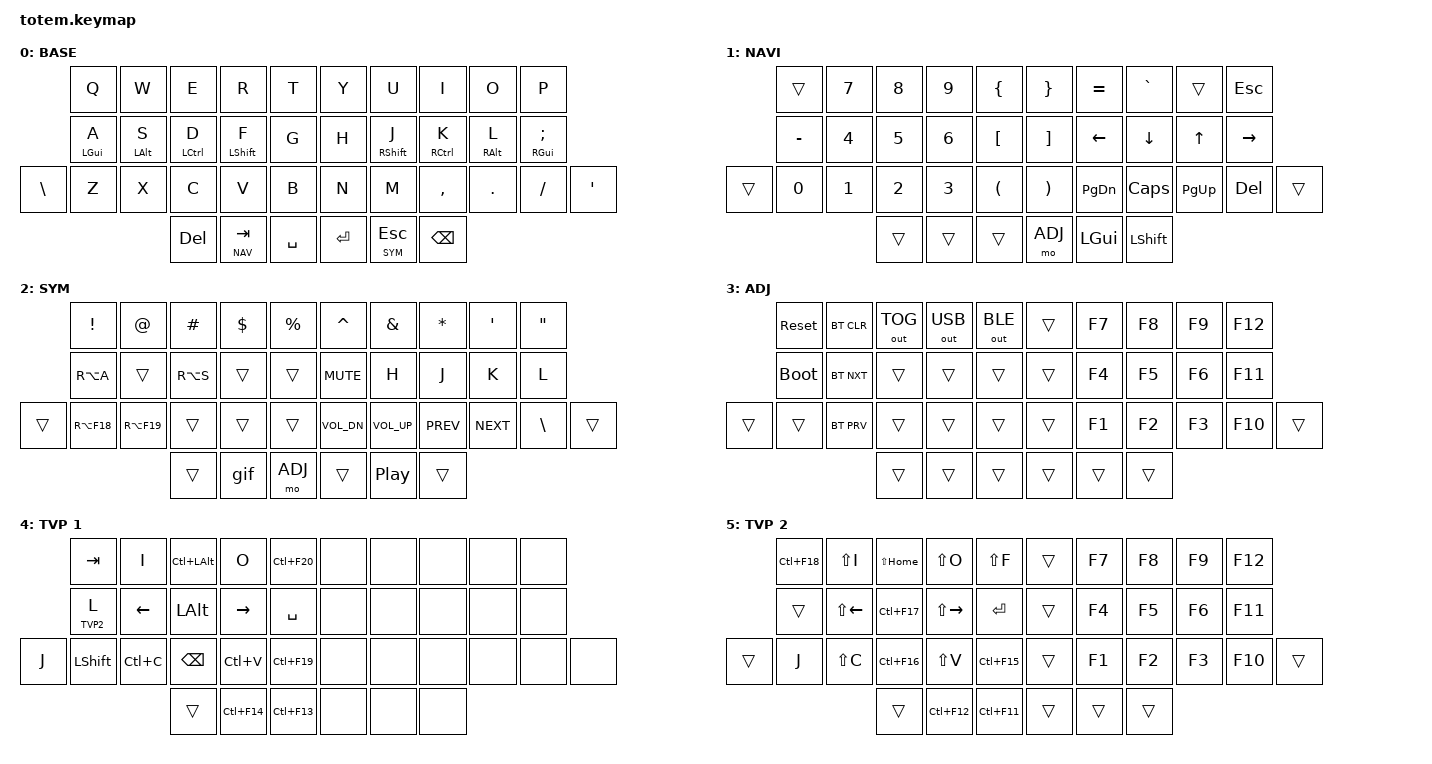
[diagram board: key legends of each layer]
//
//                                                        ▀▀▀▀▀     ▀▀▀▀▀          ▀▀█▀▀
//                                                        ▄▀▀▀▄  ▄  ▄▀▀▀▄  ▄  ▄▀▀▀▄  █  ▄▀▀▀▄
//                                                        █   █  █  █   █  █  █   █  █  █   █
//                                                         ▀▀▀   █   ▀▀▀   █   ▀▀▀   ▀   ▀▀▀
//                                                               █      ▄▄▄█▄▄▄    █   █  
//                                                               ▀      █  █  █     █▄█
//                                                             ▀▀▀▀▀    █  █  █      ▀
//                                                                      ▀  ▀  ▀
///
// ▄▄▄▄▄▄▄▄▄▄▄▄▄▄▄▄▄▄▄▄▄▄▄▄▄▄▄▄▄▄▄▄▄▄▄▄▄▄▄▄▄▄▄▄▄▄▄▄▄▄▄▄▄▄▄▄▄▄▄▄▄▄▄▄▄▄▄▄▄▄▄▄▄▄▄▄▄▄▄▄▄▄▄▄▄▄▄▄▄▄▄▄▄▄▄▄▄▄▄▄▄▄▄▄▄▄▄▄▄▄▄▄▄▄▄▄▄▄▄▄▄▄▄▄▄▄▄▄▄▄▄▄▄▄▄▄▄▄▄▄▄▄▄▄▄▄▄▄▄
       

#include <behaviors.dtsi>
#include <dt-bindings/zmk/keys.h>
#include <dt-bindings/zmk/bt.h>
#include <dt-bindings/zmk/outputs.h>

#define BASE 0
#define NAV  1
#define SYM  2
#define ADJ  3
#define TVP1 4
#define TVP2 5

&mt {
  quick-tap-ms = <100>;
  global-quick-tap;
  flavor = "tap-preferred";
  tapping-term-ms = <170>;
};

/ {
     combos {
            compatible = "zmk,combos";
            combo_esc {
                timeout-ms = <50>;
                key-positions = <0 1>;
                bindings = <&kp ESC>;
            };
            combo_tvp {
                timeout-ms = <100>;
                key-positions = <11 12 13>;
                bindings = <&tog TVP1>;
            };
    };

    macros {
        gif: gif {
            label = "giphy";
            compatible = "zmk,behavior-macro";
            #binding-cells = <0>;
            bindings
                = <&macro_press &kp LSHFT>
                , <&macro_tap &kp N2>
                , <&macro_release &kp LSHFT>
                , <&macro_tap &kp G &kp I &kp F>
                ;
        };
    };

        keymap {
                compatible = "zmk,keymap";
// ▄▄▄▄▄▄▄▄▄▄▄▄▄▄▄▄▄▄▄▄▄▄▄▄▄▄▄▄▄▄▄▄▄▄▄▄▄▄▄▄▄▄▄▄▄▄▄▄▄▄▄▄▄▄▄▄▄▄▄▄▄▄▄▄▄▄▄▄▄▄▄▄▄▄▄▄▄▄▄▄▄▄▄▄▄▄▄▄▄▄▄▄▄▄▄▄▄▄▄▄▄▄▄▄▄▄▄▄▄▄▄▄▄▄▄▄▄▄▄▄▄▄▄▄▄▄▄▄▄▄▄▄▄▄▄▄▄▄▄▄▄▄▄▄▄▄▄▄▄

                base_layer {
// ┏━━━━━━━━━━━━━━━━━━━━━━━━━━━━━━━━━━━━━━━┓
label= "BASE"                              ;
// ┗━━━━━━━━━━━━━━━━━━━━━━━━━━━━━━━━━━━━━━━┛
//             ┏━━━━━━━━━━━┳━━━━━━━━━━━┳━━━━━━━━━━━┳━━━━━━━━━━━┳━━━━━━━━━━━┓   ┏━━━━━━━━━━━┳━━━━━━━━━━━┳━━━━━━━━━━━┳━━━━━━━━━━━┳━━━━━━━━━━━┓
//             ┃     Q     ┃     W     ┃     E     ┃     R     ┃     T     ┃   ┃     Y     ┃     U     ┃     I     ┃     O     ┃     P     ┃
//             ┣━━━━━━━━━━━╋━━━━━━━━━━━╋━━━━━━━━━━━╋━━━━━━━━━━━╋━━━━━━━━━━━┫   ┣━━━━━━━━━━━╋━━━━━━━━━━━╋━━━━━━━━━━━╋━━━━━━━━━━━╋━━━━━━━━━━━┫
//             ┃     A     ┃     S     ┃     D     ┃     F     ┃     G     ┃   ┃     H     ┃     J     ┃     K     ┃     L     ┃     ;     ┃
// ┏━━━━━━━━━━━╋━━━━━━━━━━━╋━━━━━━━━━━━╋━━━━━━━━━━━╋━━━━━━━━━━━╋━━━━━━━━━━━┫   ┣━━━━━━━━━━━╋━━━━━━━━━━━╋━━━━━━━━━━━╋━━━━━━━━━━━╋━━━━━━━━━━━╋━━━━━━━━━━━┓
// ┃     \     ┃     Z     ┃     X     ┃     C     ┃     V     ┃     B     ┃   ┃     N     ┃     M     ┃     ,     ┃     .     ┃     /     ┃     '     ┃
// ┗━━━━━━━━━━━┻━━━━━━━━━━━┻━━━━━━━━━━━╋━━━━━━━━━━━╋━━━━━━━━━━━╋━━━━━━━━━━━┫   ┣━━━━━━━━━━━╋━━━━━━━━━━━╋━━━━━━━━━━━╋━━━━━━━━━━━┻━━━━━━━━━━━┻━━━━━━━━━━━┛
//                                     ┃    DEL    ┃    TAB    ┃    SPC    ┃   ┃   ENTER   ┃    ESC    ┃    BSPC    ┃
//                                     ┗━━━━━━━━━━━┻━━━━━━━━━━━┻━━━━━━━━━━━┛   ┗━━━━━━━━━━━┻━━━━━━━━━━━┻━━━━━━━━━━━┛
 bindings = <
// ╷           ╷           ╷           ╷           ╷           ╷           ╷   ╷           ╷           ╷           ╷           ╷           ╷           ╷

                &kp Q       &kp W       &kp E       &kp R       &kp T           &kp Y       &kp U       &kp I       &kp O       &kp P
                &mt LGUI A  &mt LALT S  &mt LCTRL D &mt LSHFT F &kp G           &kp H       &mt RSHFT J &mt RCTRL K &mt RALT L  &mt RGUI SEMI
    &kp BSLH     &kp Z       &kp X       &kp C       &kp V       &kp B           &kp N       &kp M       &kp COMMA   &kp DOT     &kp FSLH    &kp SQT
                                        &kp DEL   &lt NAV TAB   &kp SPACE       &kp RET   &lt SYM ESC   &kp BSPC
                        >;
                };

// ▄▄▄▄▄▄▄▄▄▄▄▄▄▄▄▄▄▄▄▄▄▄▄▄▄▄▄▄▄▄▄▄▄▄▄▄▄▄▄▄▄▄▄▄▄▄▄▄▄▄▄▄▄▄▄▄▄▄▄▄▄▄▄▄▄▄▄▄▄▄▄▄▄▄▄▄▄▄▄▄▄▄▄▄▄▄▄▄▄▄▄▄▄▄▄▄▄▄▄▄▄▄▄▄▄▄▄▄▄▄▄▄▄▄▄▄▄▄▄▄▄▄▄▄▄▄▄▄▄▄▄▄▄▄▄▄▄▄▄▄▄▄▄▄▄▄▄▄▄


                nav_layer {
// ┏━━━━━━━━━━━━━━━━━━━━━━━━━━━━━━━━━━━━━━━┓
label= "NAVI"                              ;
// ┗━━━━━━━━━━━━━━━━━━━━━━━━━━━━━━━━━━━━━━━┛
//             ┏━━━━━━━━━━━┳━━━━━━━━━━━┳━━━━━━━━━━━┳━━━━━━━━━━━┳━━━━━━━━━━━┓   ┏━━━━━━━━━━━┳━━━━━━━━━━━┳━━━━━━━━━━━┳━━━━━━━━━━━┳━━━━━━━━━━━┓
//             ┃           ┃     7     ┃     8     ┃     9     ┃     {     ┃   ┃     }     ┃     =     ┃     `     ┃           ┃    ESC    ┃
//             ┣━━━━━━━━━━━╋━━━━━━━━━━━╋━━━━━━━━━━━╋━━━━━━━━━━━╋━━━━━━━━━━━┫   ┣━━━━━━━━━━━╋━━━━━━━━━━━╋━━━━━━━━━━━╋━━━━━━━━━━━╋━━━━━━━━━━━┫
//             ┃     -     ┃     4     ┃     5     ┃     6     ┃     [     ┃   ┃     ]     ┃    LEFT   ┃    DOWN   ┃     UP    ┃   RIGHT   ┃
// ┏━━━━━━━━━━━╋━━━━━━━━━━━╋━━━━━━━━━━━╋━━━━━━━━━━━╋━━━━━━━━━━━╋━━━━━━━━━━━┫   ┣━━━━━━━━━━━╋━━━━━━━━━━━╋━━━━━━━━━━━╋━━━━━━━━━━━╋━━━━━━━━━━━╋━━━━━━━━━━━┓
// ┃           ┃     0     ┃     1     ┃     2     ┃     3     ┃     (     ┃   ┃     )     ┃   PG_DN   ┃    CAPS   ┃   PG_UP   ┃    DEL    ┃           ┃
// ┗━━━━━━━━━━━┻━━━━━━━━━━━┻━━━━━━━━━━━╋━━━━━━━━━━━╋━━━━━━━━━━━╋━━━━━━━━━━━┫   ┣━━━━━━━━━━━╋━━━━━━━━━━━╋━━━━━━━━━━━╋━━━━━━━━━━━┻━━━━━━━━━━━┻━━━━━━━━━━━┛
//                                     ┃           ┃           ┃           ┃   ┃    ADJ    ┃    LGUI   ┃   LSHIFT  ┃
//                                     ┗━━━━━━━━━━━┻━━━━━━━━━━━┻━━━━━━━━━━━┛   ┗━━━━━━━━━━━┻━━━━━━━━━━━┻━━━━━━━━━━━┛
 bindings = <
// ╷           ╷           ╷           ╷           ╷           ╷           ╷   ╷           ╷           ╷           ╷           ╷           ╷           ╷


                &trans      &kp N7      &kp N8      &kp N9      &kp LBRC        &kp RBRC    &kp EQUAL   &kp GRAVE   &trans      &kp ESC
                &kp MINUS   &kp N4      &kp N5      &kp N6      &kp LBKT        &kp RBKT    &kp LEFT    &kp DOWN    &kp UP      &kp RIGHT
    &trans      &kp N0      &kp N1      &kp N2      &kp N3      &kp LPAR        &kp RPAR    &kp PG_DN   &kp CAPS    &kp PG_UP   &kp DEL      &trans      
                                        &trans      &trans      &trans          &mo ADJ     &kp LGUI    &kp LSHFT    
                        >;
                };

// ▄▄▄▄▄▄▄▄▄▄▄▄▄▄▄▄▄▄▄▄▄▄▄▄▄▄▄▄▄▄▄▄▄▄▄▄▄▄▄▄▄▄▄▄▄▄▄▄▄▄▄▄▄▄▄▄▄▄▄▄▄▄▄▄▄▄▄▄▄▄▄▄▄▄▄▄▄▄▄▄▄▄▄▄▄▄▄▄▄▄▄▄▄▄▄▄▄▄▄▄▄▄▄▄▄▄▄▄▄▄▄▄▄▄▄▄▄▄▄▄▄▄▄▄▄▄▄▄▄▄▄▄▄▄▄▄▄▄▄▄▄▄▄▄▄▄▄▄▄


                sim_layer {
// ┏━━━━━━━━━━━━━━━━━━━━━━━━━━━━━━━━━━━━━━━┓
label= "SYM"                               ;
// ┗━━━━━━━━━━━━━━━━━━━━━━━━━━━━━━━━━━━━━━━┛
//             ┏━━━━━━━━━━━┳━━━━━━━━━━━┳━━━━━━━━━━━┳━━━━━━━━━━━┳━━━━━━━━━━━┓   ┏━━━━━━━━━━━┳━━━━━━━━━━━┳━━━━━━━━━━━┳━━━━━━━━━━━┳━━━━━━━━━━━┓
//             ┃     !     ┃     @     ┃     #     ┃     $     ┃     %     ┃   ┃     ˆ     ┃     &     ┃     *     ┃     '     ┃     "     ┃
//             ┣━━━━━━━━━━━╋━━━━━━━━━━━╋━━━━━━━━━━━╋━━━━━━━━━━━╋━━━━━━━━━━━┫   ┣━━━━━━━━━━━╋━━━━━━━━━━━╋━━━━━━━━━━━╋━━━━━━━━━━━╋━━━━━━━━━━━┫
//             ┃     Ä     ┃           ┃    SZ     ┃           ┃           ┃   ┃   MUTE    ┃     H     ┃     J     ┃     K     ┃     L     ┃
// ┏━━━━━━━━━━━╋━━━━━━━━━━━╋━━━━━━━━━━━╋━━━━━━━━━━━╋━━━━━━━━━━━╋━━━━━━━━━━━┫   ┣━━━━━━━━━━━╋━━━━━━━━━━━╋━━━━━━━━━━━╋━━━━━━━━━━━╋━━━━━━━━━━━╋━━━━━━━━━━━┓
// ┃           ┃  EMAIL1   ┃  EMAIL2   ┃           ┃           ┃           ┃   ┃   VOL-    ┃   VOL+    ┃   LAST    ┃   NEXT    ┃     \     ┃           ┃
// ┗━━━━━━━━━━━┻━━━━━━━━━━━┻━━━━━━━━━━━╋━━━━━━━━━━━╋━━━━━━━━━━━╋━━━━━━━━━━━┫   ┣━━━━━━━━━━━╋━━━━━━━━━━━╋━━━━━━━━━━━╋━━━━━━━━━━━┻━━━━━━━━━━━┻━━━━━━━━━━━┛
//                                     ┃           ┃    GIF    ┃    ADJ    ┃   ┃           ┃           ┃           ┃
//                                     ┗━━━━━━━━━━━┻━━━━━━━━━━━┻━━━━━━━━━━━┛   ┗━━━━━━━━━━━┻━━━━━━━━━━━┻━━━━━━━━━━━┛
 bindings = <
// ╷           ╷           ╷           ╷           ╷           ╷           ╷   ╷           ╷           ╷           ╷           ╷           ╷           ╷

                &kp EXCL    &kp AT      &kp HASH    &kp DLLR    &kp PRCNT       &kp CARET   &kp AMPS    &kp STAR    &kp SQT     &kp DQT       
                &kp RA(A)   &trans      &kp RA(S)   &trans      &trans          &kp C_MUTE  &kp H       &kp J       &kp K       &kp L 
    &trans      &kp RA(F18) &kp RA(F19) &trans      &trans      &trans          &kp C_VOL_DN &kp C_VOL_UP &kp C_PREV &kp C_NEXT  &kp BSLH   &trans         
                                        &trans      &gif        &mo ADJ         &trans      &kp C_PP    &trans      
                        >;
                };

// ▄▄▄▄▄▄▄▄▄▄▄▄▄▄▄▄▄▄▄▄▄▄▄▄▄▄▄▄▄▄▄▄▄▄▄▄▄▄▄▄▄▄▄▄▄▄▄▄▄▄▄▄▄▄▄▄▄▄▄▄▄▄▄▄▄▄▄▄▄▄▄▄▄▄▄▄▄▄▄▄▄▄▄▄▄▄▄▄▄▄▄▄▄▄▄▄▄▄▄▄▄▄▄▄▄▄▄▄▄▄▄▄▄▄▄▄▄▄▄▄▄▄▄▄▄▄▄▄▄▄▄▄▄▄▄▄▄▄▄▄▄▄▄▄▄▄▄▄▄


                adjust_layer {
// ┏━━━━━━━━━━━━━━━━━━━━━━━━━━━━━━━━━━━━━━━┓
label= "ADJ"                               ;
// ┗━━━━━━━━━━━━━━━━━━━━━━━━━━━━━━━━━━━━━━━┛
//             ┏━━━━━━━━━━━┳━━━━━━━━━━━┳━━━━━━━━━━━┳━━━━━━━━━━━┳━━━━━━━━━━━┓   ┏━━━━━━━━━━━┳━━━━━━━━━━━┳━━━━━━━━━━━┳━━━━━━━━━━━┳━━━━━━━━━━━┓
//             ┃   RESET   ┃ BT CLEAR  ┃  OUT TOG  ┃  OUT USB  ┃  OUT BLE  ┃   ┃           ┃    F7     ┃    F8     ┃    F9     ┃    F12    ┃
//             ┣━━━━━━━━━━━╋━━━━━━━━━━━╋━━━━━━━━━━━╋━━━━━━━━━━━╋━━━━━━━━━━━┫   ┣━━━━━━━━━━━╋━━━━━━━━━━━╋━━━━━━━━━━━╋━━━━━━━━━━━╋━━━━━━━━━━━┫
//             ┃ BOOTLOAD  ┃ BT NEXT   ┃           ┃           ┃           ┃   ┃           ┃    F4     ┃    F5     ┃    F6     ┃    F11    ┃
// ┏━━━━━━━━━━━╋━━━━━━━━━━━╋━━━━━━━━━━━╋━━━━━━━━━━━╋━━━━━━━━━━━╋━━━━━━━━━━━┫   ┣━━━━━━━━━━━╋━━━━━━━━━━━╋━━━━━━━━━━━╋━━━━━━━━━━━╋━━━━━━━━━━━╋━━━━━━━━━━━┓
// ┃           ┃           ┃ BT PREV   ┃           ┃           ┃           ┃   ┃           ┃    F1     ┃    F2     ┃    F3     ┃    F10    ┃           ┃
// ┗━━━━━━━━━━━┻━━━━━━━━━━━┻━━━━━━━━━━━╋━━━━━━━━━━━╋━━━━━━━━━━━╋━━━━━━━━━━━┫   ┣━━━━━━━━━━━╋━━━━━━━━━━━╋━━━━━━━━━━━╋━━━━━━━━━━━┻━━━━━━━━━━━┻━━━━━━━━━━━┛
//                                     ┃           ┃           ┃           ┃   ┃           ┃           ┃           ┃
//                                     ┗━━━━━━━━━━━┻━━━━━━━━━━━┻━━━━━━━━━━━┛   ┗━━━━━━━━━━━┻━━━━━━━━━━━┻━━━━━━━━━━━┛
 bindings = <
// ╷           ╷           ╷           ╷           ╷           ╷           ╷   ╷           ╷           ╷           ╷           ╷           ╷           ╷

                &sys_reset &bt BT_CLR &out OUT_TOG &out OUT_USB &out OUT_BLE    &trans      &kp F7      &kp F8      &kp F9      &kp F12
                &bootloader &bt BT_NXT  &trans      &trans      &trans          &trans      &kp F4      &kp F5      &kp F6      &kp F11  
    &trans      &trans      &bt BT_PRV  &trans      &trans      &trans          &trans      &kp F1      &kp F2      &kp F3      &kp F10     &trans         
                                        &trans      &trans      &trans          &trans      &trans      &trans      
                        >;
                };

// ▄▄▄▄▄▄▄▄▄▄▄▄▄▄▄▄▄▄▄▄▄▄▄▄▄▄▄▄▄▄▄▄▄▄▄▄▄▄▄▄▄▄▄▄▄▄▄▄▄▄▄▄▄▄▄▄▄▄▄▄▄▄▄▄▄▄▄▄▄▄▄▄▄▄▄▄▄▄▄▄▄▄▄▄▄▄▄▄▄▄▄▄▄▄▄▄▄▄▄▄▄▄▄▄▄▄▄▄▄▄▄▄▄▄▄▄▄▄▄▄▄▄▄▄▄▄▄▄▄▄▄▄▄▄▄▄▄▄▄▄▄▄▄▄▄▄▄▄▄


                tvp1_layer {
// ┏━━━━━━━━━━━━━━━━━━━━━━━━━━━━━━━━━━━━━━━┓
label= "TVP 1"                             ;
// ┗━━━━━━━━━━━━━━━━━━━━━━━━━━━━━━━━━━━━━━━┛
//             ┏━━━━━━━━━━━┳━━━━━━━━━━━┳━━━━━━━━━━━┳━━━━━━━━━━━┳━━━━━━━━━━━┓   ┏━━━━━━━━━━━┳━━━━━━━━━━━┳━━━━━━━━━━━┳━━━━━━━━━━━┳━━━━━━━━━━━┓
//             ┃ NEXT FILE ┃ MARK IN   ┃ ROTATE    ┃ MARK OUT  ┃ SHOW SNAP ┃   ┃           ┃           ┃           ┃           ┃           ┃
//             ┣━━━━━━━━━━━╋━━━━━━━━━━━╋━━━━━━━━━━━╋━━━━━━━━━━━╋━━━━━━━━━━━┫   ┣━━━━━━━━━━━╋━━━━━━━━━━━╋━━━━━━━━━━━╋━━━━━━━━━━━╋━━━━━━━━━━━┫
//             ┃ TVP II    ┃ LEFT      ┃ PAN       ┃ RIGHT     ┃ PLAY/FLIP ┃   ┃           ┃           ┃           ┃           ┃           ┃
// ┏━━━━━━━━━━━╋━━━━━━━━━━━╋━━━━━━━━━━━╋━━━━━━━━━━━╋━━━━━━━━━━━╋━━━━━━━━━━━┫   ┣━━━━━━━━━━━╋━━━━━━━━━━━╋━━━━━━━━━━━╋━━━━━━━━━━━╋━━━━━━━━━━━╋━━━━━━━━━━━┓
// ┃ FULLSCR   ┃ SHIFT     ┃ COPY      ┃ DELETE    ┃ PASTE     ┃ IMG MARK  ┃   ┃           ┃           ┃           ┃           ┃           ┃           ┃
// ┗━━━━━━━━━━━┻━━━━━━━━━━━┻━━━━━━━━━━━╋━━━━━━━━━━━╋━━━━━━━━━━━╋━━━━━━━━━━━┫   ┣━━━━━━━━━━━╋━━━━━━━━━━━╋━━━━━━━━━━━╋━━━━━━━━━━━┻━━━━━━━━━━━┻━━━━━━━━━━━┛
//                                     ┃           ┃ UNDO/SAVE ┃  SEL/MOV  ┃   ┃           ┃           ┃           ┃
//                                     ┗━━━━━━━━━━━┻━━━━━━━━━━━┻━━━━━━━━━━━┛   ┗━━━━━━━━━━━┻━━━━━━━━━━━┻━━━━━━━━━━━┛
 bindings = <
// ╷           ╷           ╷           ╷           ╷           ╷           ╷   ╷           ╷           ╷           ╷           ╷           ╷           ╷

                &kp TAB     &kp I       &kp LC(LALT) &kp O      &kp LC(F20)     &none       &none       &none       &none       &none
                &lt TVP2 L  &kp LEFT    &kp LALT    &kp RIGHT   &kp SPACE       &none       &none       &none       &none       &none
    &kp J       &kp LSHFT   &kp LC(C)   &kp BSPC    &kp LC(V)   &kp LC(F19)     &none       &none       &none       &none       &none       &none        
                                        &trans      &kp LC(F14) &kp LC(F13)     &none       &none       &none    
                        >;
                };

// ▄▄▄▄▄▄▄▄▄▄▄▄▄▄▄▄▄▄▄▄▄▄▄▄▄▄▄▄▄▄▄▄▄▄▄▄▄▄▄▄▄▄▄▄▄▄▄▄▄▄▄▄▄▄▄▄▄▄▄▄▄▄▄▄▄▄▄▄▄▄▄▄▄▄▄▄▄▄▄▄▄▄▄▄▄▄▄▄▄▄▄▄▄▄▄▄▄▄▄▄▄▄▄▄▄▄▄▄▄▄▄▄▄▄▄▄▄▄▄▄▄▄▄▄▄▄▄▄▄▄▄▄▄▄▄▄▄▄▄▄▄▄▄▄▄▄▄▄▄


                tvp2_layer {
// ┏━━━━━━━━━━━━━━━━━━━━━━━━━━━━━━━━━━━━━━━┓
label= "TVP 2"                             ;
// ┗━━━━━━━━━━━━━━━━━━━━━━━━━━━━━━━━━━━━━━━┛
//             ┏━━━━━━━━━━━┳━━━━━━━━━━━┳━━━━━━━━━━━┳━━━━━━━━━━━┳━━━━━━━━━━━┓   ┏━━━━━━━━━━━┳━━━━━━━━━━━┳━━━━━━━━━━━┳━━━━━━━━━━━┳━━━━━━━━━━━┓
//             ┃ SOLO      ┃ TOGGLE IN ┃ RESET ROT ┃ TOGGLE OUT┃ TAKE SNAP ┃   ┃           ┃           ┃           ┃           ┃           ┃
//             ┣━━━━━━━━━━━╋━━━━━━━━━━━╋━━━━━━━━━━━╋━━━━━━━━━━━╋━━━━━━━━━━━┫   ┣━━━━━━━━━━━╋━━━━━━━━━━━╋━━━━━━━━━━━╋━━━━━━━━━━━╋━━━━━━━━━━━┫
//             ┃ ---       ┃ LAST KEY  ┃ NEW KEY   ┃ NEXT KEY  ┃ ENTER     ┃   ┃           ┃           ┃           ┃           ┃           ┃
// ┏━━━━━━━━━━━╋━━━━━━━━━━━╋━━━━━━━━━━━╋━━━━━━━━━━━╋━━━━━━━━━━━╋━━━━━━━━━━━┫   ┣━━━━━━━━━━━╋━━━━━━━━━━━╋━━━━━━━━━━━╋━━━━━━━━━━━╋━━━━━━━━━━━╋━━━━━━━━━━━┓
// ┃           ┃ FULLSCR   ┃ CPY2BRUSH ┃ DEL HEAD  ┃ PSTinPLACE┃ BOOK MARK ┃   ┃           ┃           ┃           ┃           ┃           ┃           ┃
// ┗━━━━━━━━━━━┻━━━━━━━━━━━┻━━━━━━━━━━━╋━━━━━━━━━━━╋━━━━━━━━━━━╋━━━━━━━━━━━┫   ┣━━━━━━━━━━━╋━━━━━━━━━━━╋━━━━━━━━━━━╋━━━━━━━━━━━┻━━━━━━━━━━━┻━━━━━━━━━━━┛
//                                     ┃           ┃ REDO/SAV1 ┃TRANS/WARP ┃   ┃           ┃           ┃           ┃
//                                     ┗━━━━━━━━━━━┻━━━━━━━━━━━┻━━━━━━━━━━━┛   ┗━━━━━━━━━━━┻━━━━━━━━━━━┻━━━━━━━━━━━┛
 bindings = <
// ╷           ╷           ╷           ╷           ╷           ╷           ╷   ╷           ╷           ╷           ╷           ╷           ╷           ╷

                &kp LC(F18) &kp LS(I)  &kp LS(HOME) &kp LS(O)   &kp LS(F)       &trans      &kp F7      &kp F8      &kp F9      &kp F12
                &trans      &kp LS(LEFT) &kp LC(F17) &kp LS(RIGHT) &kp RET      &trans      &kp F4      &kp F5      &kp F6      &kp F11  
    &trans      &kp J       &kp LS(C)   &kp LC(F16) &kp LS(V)   &kp LC(F15)     &trans      &kp F1      &kp F2      &kp F3      &kp F10     &trans         
                                        &trans      &kp LC(F12) &kp LC(F11)     &trans      &trans      &trans      
                        >;
                };
        };
};
